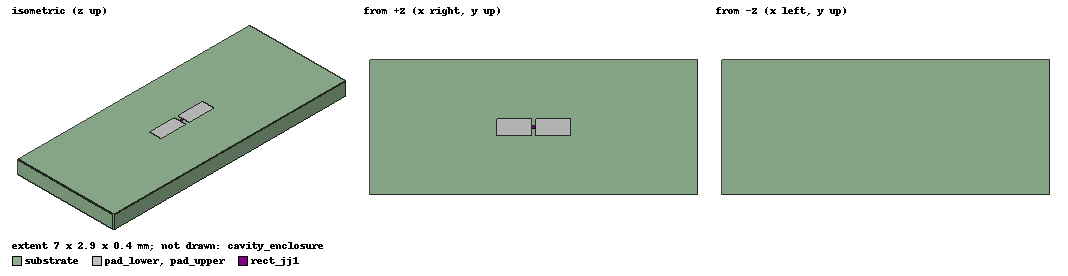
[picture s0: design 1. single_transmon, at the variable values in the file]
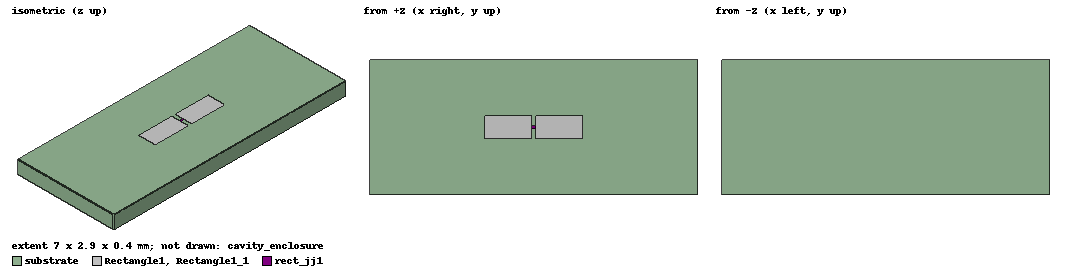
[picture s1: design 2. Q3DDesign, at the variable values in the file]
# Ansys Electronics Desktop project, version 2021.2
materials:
  vacuum: permittivity=1
  sapphire: permittivity=10
  silicon: permittivity=11.9
  copper: permeability=0.999991 conductivity=58000000

design 1. single_transmon (HFSS, Eigenmode, model units mm)
options: Save_Adaptive_support_files
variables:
  width = 3mm
  height = 17mm
  length = 33mm
  c_w = 2.9mm
  c_h = 0.4mm
  c_l = 7mm
  pad_gap = 100um
  jj_w = 50um
  pad_w = 0.75mm
  pad_h = 350um
  Lj_1 = 12nH
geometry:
  cavity_enclosure [vacuum] = cylinder(axis=Z, base_centre=(0mm, length/2, -height/2), radius=width, height=height)
  Box1 = box(corner=(-width, -length/2, -height/2), size=(2*width, length, height))
  cavity_enclosure.duplicate_along_line(step=(0mm, -length, 0mm), total=2, attached)
  cavity_enclosure.unite(Box1)
  substrate [silicon] = box(corner=(-c_l/2, -c_w/2, 0mm), size=(c_l, c_w, -c_h))
  substrate1 = box(corner=(-c_l/2, -c_w/2, 0mm), size=(c_l, c_w, -c_h))
  cavity_enclosure.unite(substrate1)
  rect_jj1 = rectangle(corner=(-pad_gap/2, -jj_w/2, 0mm), x_size=pad_gap, y_size=jj_w)
  pad_lower = rectangle(corner=(-pad_w/2, -pad_h/2, 0mm), x_size=pad_w, y_size=pad_h)
  pad_lower.move(pad_gap/2+pad_w/2, 0mm, 0mm)
  pad_upper = pad_lower.duplicate_along_line(step=(-(pad_gap+pad_w), 0mm, 0mm), total=2)
  line_jj1 = polyline((pad_gap/2, 0mm, 0mm) (-pad_gap/2, 0mm, 0mm))
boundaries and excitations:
  LumpedRLC_jj1: Lumped RLC Objects=rect_jj1 CurrentLine{middle of rect_jj1.edge(x opposite corner) -> middle of rect_jj1.edge(x at corner)} RLC_Type=Parallel Inductance=Lj_1
  Pads: Perfect E Objects=[pad_lower, pad_upper]
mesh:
  jj: LengthBased Objects=rect_jj1 MaxLength=20um
  pads: LengthBased Objects=[pad_upper, pad_lower] MaxLength=100um
  substrate: LengthBased Faces=substrate.face(-z) MaxLength=1mm
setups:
  Setup1: HfssEigen MinimumFrequency=3.2GHz NumModes=2 MaxDeltaFreq=0.02 ConvergeOnRealFreq=true MaximumPasses=15 MinimumPasses=2 MinimumConvergedPasses=2 PercentRefinement=30 BasisOrder=0
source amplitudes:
  #-10:1: 0 0
  #-10:2: 1 0
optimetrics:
  ParametricSetup1: Parametric Sim._Setups=[Setup1]
    sweep Lj_1: LINC 7nH 11nH 5
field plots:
  Mag_E1: E Field over substrate.face(+z) on Setup1 : LastAdaptive at Phase=0deg
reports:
  Freq. vs. pass: re(Mode(1)), re(Mode(2)) vs Pass on Setup1 : AdaptivePass

design 2. Q3DDesign (Q3D Extractor, model units mm)
options: SParamCalcMethod=EqTransLine Calculate_Lossy_Dielectrics
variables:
  height = (17-2) mm
  c_h = 0.4mm
  c_l = 7mm
  width = (5-2) mm
  length = (35-4) mm
  c_w = 2.9mm
  jj_w = 50um
  pad_gap = 100um
  pad_w = 1mm
  pad_h = 500um
  Lj_1 = 11nH
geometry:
  cavity_enclosure [vacuum] = cylinder(axis=Z, base_centre=(0mm, length/2, -height/2), radius=width, height=height)
  cavity_enclosure.duplicate_along_line(step=(0mm, -length, 0mm), total=2, attached)
  Box1 = box(corner=(-width, -length/2, -height/2), size=(2*width, length, height))
  cavity_enclosure.unite(Box1)
  substrate1 = box(corner=(-c_l/2, -c_w/2, 0mm), size=(c_l, c_w, -c_h))
  cavity_enclosure.unite(substrate1)
  substrate [silicon] = box(corner=(-c_l/2, -c_w/2, 0mm), size=(c_l, c_w, -c_h))
  rect_jj1 = rectangle(corner=(-pad_gap/2, -jj_w/2, 0mm), x_size=pad_gap, y_size=jj_w)
  Rectangle1 = rectangle(corner=(-pad_w/2, -pad_h/2, 0mm), x_size=pad_w, y_size=pad_h)
  Rectangle1.move(pad_gap/2+pad_w/2, 0mm, 0mm)
  Rectangle1_1 = Rectangle1.duplicate_along_line(step=(-(pad_gap+pad_w), 0mm, 0mm), total=2)
  line_jj1 = polyline((pad_gap/2, 0mm, 0mm) (-pad_gap/2, 0mm, 0mm))
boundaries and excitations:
  ThinCond1: ThinConductor Objects=Rectangle1 Material=Copper Thickness=1mm
  ThinCond2: ThinConductor Objects=Rectangle1_1 Material=Copper Thickness=1mm
  Rectangle1: SignalNet Objects=Rectangle1
  Rectangle1_1: SignalNet Objects=Rectangle1_1
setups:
  Setup1: Matrix AdaptiveFreq=5GHz Cap{MaxPass=10 MinPass=1 MinConvPass=1 PerError=1 PerRefine=30 AutoIncreaseSolutionOrder SolutionOrder=High Solver_Type=Iterative}
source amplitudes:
  Rectangle1: Cap 1V 0deg
  Rectangle1_1: Cap 0V 0deg
